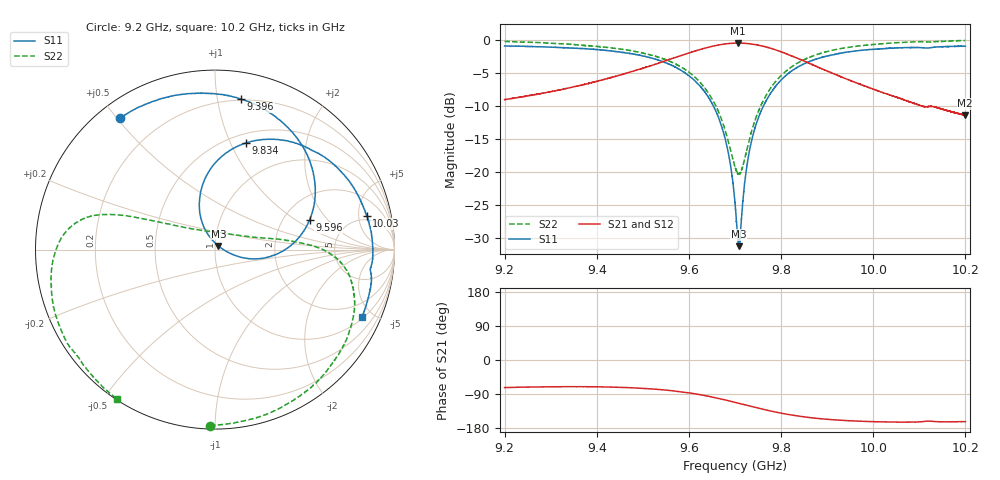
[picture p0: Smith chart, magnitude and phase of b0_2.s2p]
!Agilent Technologies,N5242A,MY51221714,A.09.90.19
!Agilent N5242A: A.09.90.19
!Date: Saturday, March 16, 2024 09:23:20
!Correction: S11(Full 2 Port(1,2))
!S21(Full 2 Port(1,2))
!S12(Full 2 Port(1,2))
!S22(Full 2 Port(1,2))
!S2P File: Measurements: S11, S21, S12, S22:
# Hz S  dB  R 50
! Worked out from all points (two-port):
!   16001 points, 9.2 GHz to 10.2 GHz, reference 50 ohm
!   highest |S21| = -0.43 dB at 9.706 GHz (marker M1); lowest = -11.4 dB at 10.2 GHz (marker M2)
!   |S21| within 3 dB of the highest: 9.536 GHz to 9.859 GHz (322 MHz wide, 3.32 % of centre); 9.85871 GHz to 9.858833 GHz (122.6 kHz wide, 0.00124 % of centre)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
!   lowest |S11| = -31.3 dB at 9.708 GHz (marker M3), VSWR 1.06, Z = 51.9 + j2.05 ohm
!   |S11| at or under -10 dB: 9.653 GHz to 9.762 GHz (108.5 MHz wide, 1.12 % of centre)
!   |S22| runs from -20.4 to 0.0 dB; largest |S21 - S12| = 0.012
!   S11 on the Smith chart (normalised r, x): 9.2 GHz: 0.06, +0.51; 9.396 GHz: 0.19, +1.17; 9.596 GHz: 2.77, +1.31; 9.834 GHz: 0.59, +1.14; 10.03 GHz: 4.23, +6.30; 10.2 GHz: 1.09, -4.31
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9.2e9  -0.89 125.9  -9.02 -72.8  -9.00 -73.4  -0.17 -91.6
9.277688e9  -0.99 108.5  -8.11 -71.1  -8.09 -71.5  -0.38 -70.1
9.366688e9  -1.27 87.6  -6.83 -70.5  -6.80 -71.1  -0.75 -46.5
9.396e9  -1.40 80.1  -6.32 -70.7  -6.30 -71.3  -0.92 -39.0
9.533375e9  -3.02 40.1  -3.50 -77.6  -3.49 -78.1  -2.56 -9.1
9.595562e9  -5.16 17.4  -2.05 -86.0  -2.02 -86.6  -4.63 0.6
9.666188e9  -12.08 -11.6  -0.71 -101.8  -0.69 -102.4  -11.20 13.5
9.686625e9  -17.51 -16.6  -0.52 -107.7  -0.49 -108.3  -15.65 28.3
9.7e9  -24.61 -6.6  -0.45 -111.7  -0.42 -112.4  -19.26 54.0
9.705812e9  -29.78 22.1  -0.43 -113.6  -0.42 -114.1  -20.21 73.4
9.708188e9  -31.26 46.1  -0.44 -114.3  -0.41 -114.8  -20.36 82.2
9.727438e9  -18.33 116.2  -0.51 -120.2  -0.48 -120.8  -16.10 134.0
9.747625e9  -12.38 111.1  -0.72 -126.3  -0.70 -126.9  -11.36 149.6
9.784312e9  -7.36 95.1  -1.38 -136.4  -1.39 -137.1  -6.61 157.6
9.833812e9  -4.17 73.9  -2.68 -147.2  -2.69 -147.8  -3.54 163.0
9.866688e9  -3.09 61.3  -3.68 -152.6  -3.67 -153.1  -2.46 166.8
9.950438e9  -1.73 34.0  -6.12 -160.5  -6.13 -161.0  -1.05 -179.7
1.003094e10  -1.26 12.6  -8.21 -163.4  -8.20 -164.0  -0.48 -163.2
1.003338e10  -1.24 12.0  -8.26 -163.5  -8.25 -164.0  -0.46 -162.7
1.010562e10  -1.14 -5.3  -10.00 -162.8  -10.00 -163.4  -0.22 -146.6
1.01995e10  -0.92 -24.6  -11.40 -162.7  -11.37 -163.3  -0.04 -123.2
1.02e10  -0.91 -24.7  -11.39 -162.7  -11.37 -163.3  -0.05 -123.1
